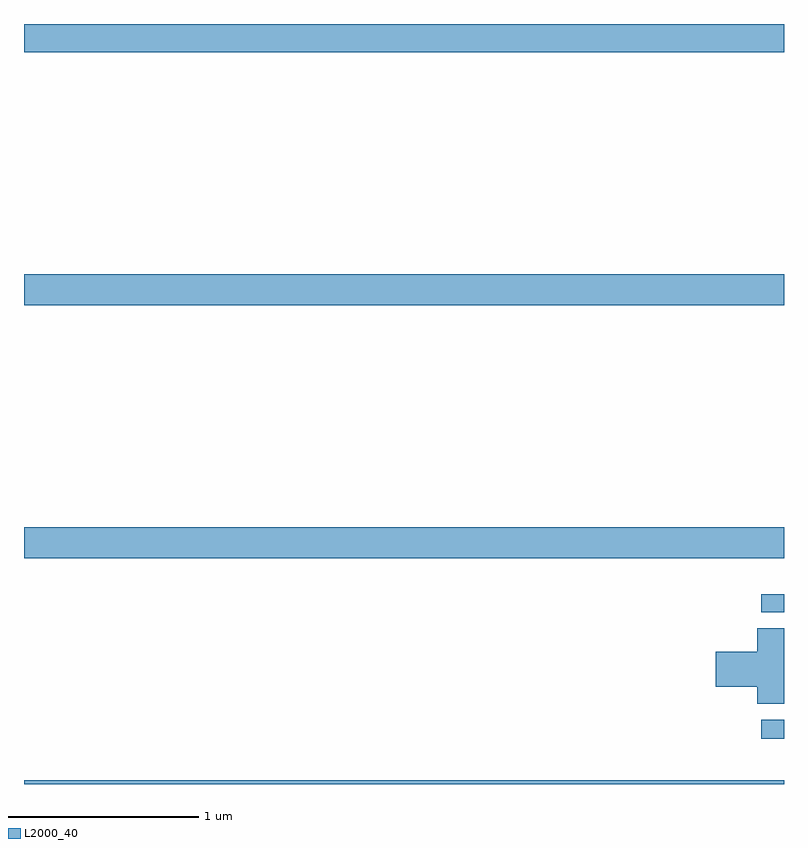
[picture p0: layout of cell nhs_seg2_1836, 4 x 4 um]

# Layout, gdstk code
import gdstk
lib = gdstk.Library(unit=1e-6, precision=1e-09)
def R(c, l, rs):  # rectangles x0, y0, x1, y1
    for r in rs: c.add(gdstk.rectangle(r[:2], r[2:], *l))
def P(c, l, *ps):  # polygons
    for p in ps: c.add(gdstk.Polygon(p, *l))
L2000_40 = (2000, 40)

nhs_seg2_1836 = lib.new_cell('nhs_seg2_1836')
R(nhs_seg2_1836, L2000_40, [(207,627.8,211,627.82), (210.879,628.039,211,628.137), (210.879,628.704,211,628.8), (207,628.988,211,629.152), (207,630.32,211,630.484), (207,631.652,211,631.8)])
P(nhs_seg2_1836, L2000_40, [(211,628.619),(210.86,628.619),(210.86,628.496),(210.642,628.496),(210.642,628.313),(210.86,628.313),(210.86,628.222),(211,628.222)])

lib.write_gds('nhs_seg2_1836.gds')
